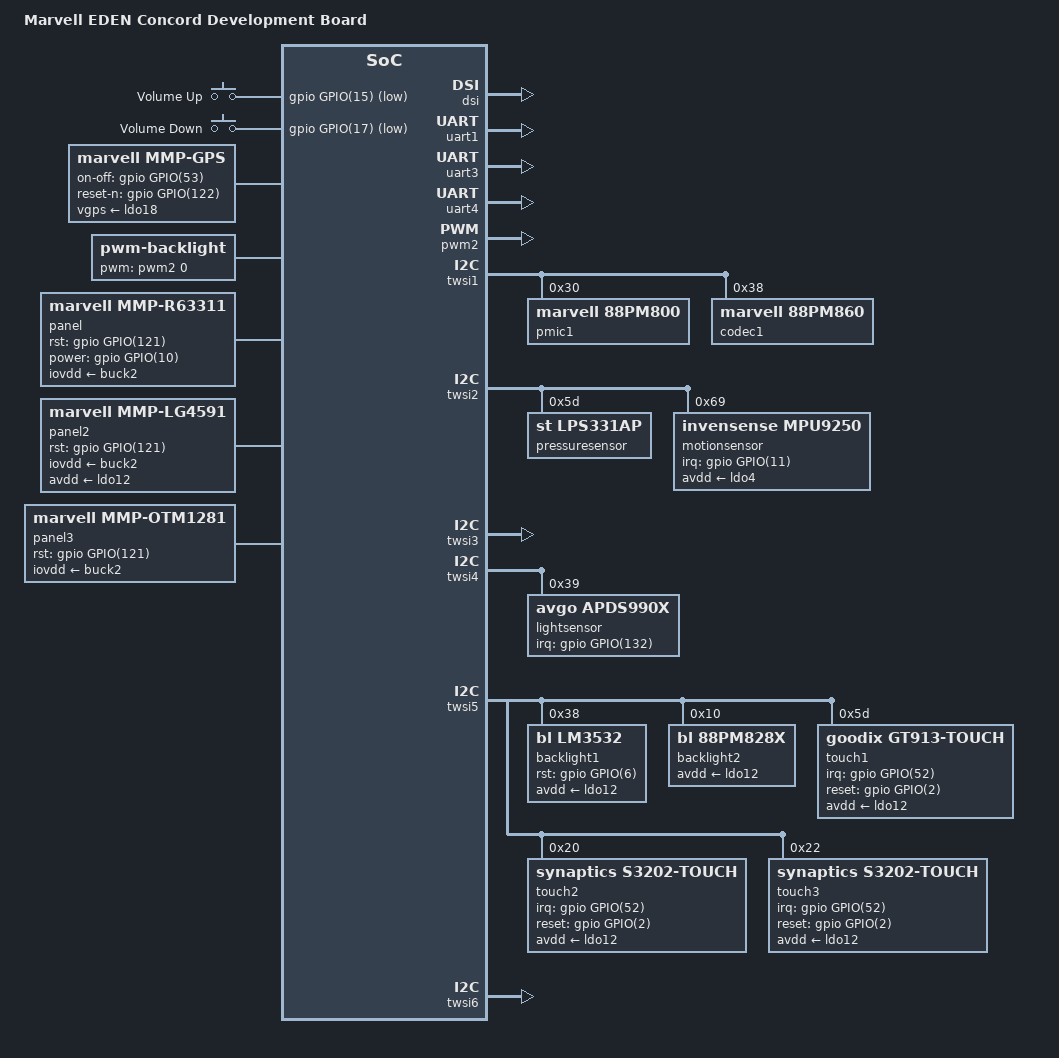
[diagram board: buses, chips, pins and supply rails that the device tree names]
/*
 *  Copyright (C) 2012 Marvell Technology Group Ltd.
 *  Author: Jing Xiang <jing.xiang@marvell.com>
 *
 *  This program is free software; you can redistribute it and/or modify
 *  it under the terms of the GNU General Public License version 2 as
 *  publishhed by the Free Software Foundation.
 */

/dts-v1/;
/memreserve/ 0x09000000 0x04000000;	/* ION */
/memreserve/ 0x17000000 0x017e8000;	/* default fb-mem (size: 1088*1920*4*3) */
#include "eden.dtsi"
#include "regulator.h"

/ {
	model = "Marvell EDEN Concord Development Board";
	compatible = "mrvl,eden-concord", "mrvl,eden";

	interrupt-parent = <&gic>;

	memory {
		device_type = "memory";
		reg = <0 0 0x40000000>;
	};

	gic: interrupt-controller@d1e02000 {
		status = "okay";
	};

	gpio_keys {
			compatible = "gpio-keys";
			#address-cells = <1>;
			#size-cells = <0>;

			volume-up {
				label = "Volume Up";
				linux,code = <115>; /* KEY_VOLUMEUP */
				gpios = <&gpio GPIO(15) 1>;
			};
			volume-down {
				label = "Volume Down";
				linux,code = <114>;/* KEY_VOLUMEDOWN */
				gpios = <&gpio GPIO(17) 1>;
			};
	};

	gps: mmp-gps {
		compatible = "marvell,mmp-gps";
		vgps-supply = <&ldo18>;
		on-off-gpio = <&gpio GPIO(53) 0>;
		reset-n-gpio = <&gpio GPIO(122) 0>;
	};

	soc {
		axi@d4200000 {	/* AXI */
			dsi: dsi@d420b800 {
				marvell,phy-name = "mmp_dsi1";
				marvell,plat-path-name = "mmp_pnpath";
				marvell,dsi-lanes = <4>;
				marvell,burst-mode = <2>;
				marvell,hbp-en;
				dsi_avdd-supply = <&buck3>;
				status = "okay";
			};

			vdma: vdma@d427f000 {
				marvell,vdma-num = <4>;
				status = "okay";
				vdma1 {
					marvell,vdma-id = <0>;
					marvell,sram-size = <17408>;
					marvell,is_vid = <0>;
				};
				vdma2 {
					marvell,vdma-id = <1>;
					marvell,sram-size = <17408>;
					marvell,is_vid = <0>;
				};
				vdma3 {
					marvell,vdma-id = <2>;
					marvell,sram-size = <17408>;
					marvell,is_vid = <1>;
				};
				vdma4 {
					marvell,vdma-id = <3>;
					marvell,sram-size = <17408>;
					marvell,is_vid = <1>;
				};
			};

			apical: apical@d420b400 {
				marvell,apical-num = <1>;
				status = "okay";
			};

			disp: disp@d420b000 {
				marvell,disp-name = "mmp_disp";
				marvell,path-num = <1>;
				status = "okay";
				path1 {
					marvell,path-name = "mmp_pnpath";
					marvell,overlay-num = <2>;
					marvell,overlay-table = <0>, <1>;
					marvell,output-type = <1>;
					marvell,path-config = <0x10>;
					marvell,link-config = <1>;
					pn_sclk_clksrc {
						clksrc = "disp1";
					};
					disp1_clksrc {
						clksrc = "pll1_416";
					};
					disp_apmu_ver {
						version = "ax";
					};
				};
			};

			fb: fb {
				marvell,fb-name = "mmp_fb";
				marvell,path-name = "mmp_pnpath";
				marvell,overlay-id = <1>;
				marvell,default-pixfmt = <0x108>;
				marvell,buffer-num = <3>;
				marvell,fb-mem = <0x17000000>;
				status = "okay";
			};

			fb1: fb-overlay {
				marvell,fb-name = "mmp_fb_overlay";
				marvell,path-name = "mmp_pnpath";
				marvell,overlay-id = <0>;
				status = "okay";
			};

			adma0: adma@c0ffd800 {
				status = "okay";
			};
			adma1: adma@c0ffd900 {
				status = "okay";
			};
		};

		apb@d4000000 {
			/* PDMA Controller 0 */
			pdma0: pdma@d4000000 {
				status = "okay";
			};

			/* PDMA Controller 1 */
			pdma1: pdma@d4008000 {
				status = "okay";
			};

			/* UART for GPS */
			uart1: uart@d4030000 {
				pinctrl-names = "default"; pinctrl-0 = <&uart1_pins>;
				status = "okay";
			};

			/* UART for AP */
			uart3: uart@d4018000 {
				pinctrl-names = "default"; pinctrl-0 = <&uart3_pins>;
				status = "okay";
			};

			/* UART for WIFI and SPI NOR */
			uart4: uart@d4016000 {
				pinctrl-names = "default"; pinctrl-0 = <&uart4_pins>;
				status = "okay";
			};

			pwm2: pwm@d401a400 {
				pinctrl-names = "default"; pinctrl-0 = <&pwm2_pins>;
				status = "okay";
			};

			gpio: gpio@d4019000 {
				status = "okay";
			};

			twsi1: i2c@d4011000 {
				pinctrl-names = "default", "idle";
				pinctrl-0 = <&twsi1_pins>;
				pinctrl-1 = <&twsi1_cp_pins>;
				mrvl,i2c-apdcp;
				status = "okay";
				pmic1: 88pm860@30 {
					compatible = "marvell,88pm800";
					reg = <0x30>;
					interrupts = <0 77 0x4>;
					interrupt-parent = <&gic>;
					interrupt-controller;
					#interrupt-cells = <1>;
					marvell,88pm800-power-page-addr = <0x31>;
					marvell,88pm800-gpadc-page-addr = <0x32>;

					regulators {
						compatible = "marvell,88pm80x-regulator";

						buck1a: BUCK1A {PM800_BUCK1A;regulator-boot-on;regulator-always-on;};
						buck2: BUCK2 {PM800_BUCK2;};
						buck3: BUCK3 {PM800_BUCK3;regulator-boot-on;regulator-always-on;};
						buck4: BUCK4 {PM800_BUCK4;};
						buck5: BUCK5 {PM800_BUCK5;regulator-boot-on;regulator-always-on;};
						buck6: BUCK6 {PM800_BUCK6;};
						buck1b: BUCK1B {PM800_BUCK1B;regulator-boot-on;regulator-always-on;};
						ldo1: LDO1 {PM800_LDO1;regulator-boot-on;regulator-always-on;};
						ldo2: LDO2 {PM800_LDO2;regulator-boot-on;regulator-always-on;};
						ldo3: LDO3 {PM800_LDO3;};
						ldo4: LDO4 {PM800_LDO4;};
						ldo5: LDO5 {PM800_LDO5;};
						ldo6: LDO6 {PM800_LDO6;};
						ldo7: LDO7 {PM800_LDO7;};
						ldo8: LDO8 {PM800_LDO8;regulator-boot-on;regulator-always-on;};
						ldo9: LDO9 {PM800_LDO9;};
						ldo10: LDO10 {PM800_LDO10;};
						ldo11: LDO11 {PM800_LDO11;regulator-boot-on;regulator-always-on;};
						ldo12: LDO12 {PM800_LDO12;regulator-boot-on;regulator-always-on;};
						ldo13: LDO13 {PM800_LDO13;};
						ldo14: LDO14 {PM800_LDO14;};
						ldo15: LDO15 {PM800_LDO15;};
						ldo16: LDO16 {PM800_LDO16;regulator-boot-on;regulator-always-on;};
						ldo17: LDO17 {PM800_LDO17;};
						ldo18: LDO18 {PM800_LDO18;};
						ldo19: LDO19 {PM800_LDO19;regulator-boot-on;};
						ldo20: LDO20 {PM800_LDO20;};
					};
				};
				codec1: 88pm860@38 {
					compatible = "marvell,88pm860";
					reg = <0x38>;
				};
			};

			twsi2: i2c@d4031000 {
				pinctrl-names = "default"; pinctrl-0 = <&twsi2_pins>;
				status = "okay";

				pressuresensor: lps331ap@5d {
					compatible = "st,lps331ap";
					reg = <0x5d>;
					lps331ap,poll_interval = <1000>;
				};

				motionsensor: mpu9250@69 {
					pinctrl-names = "default"; pinctrl-0 = <&motion_sensor_pins>;
					compatible = "invensense,mpu9250";
					reg = <0x69>;
					interrupt-parent = <&gpio>;
					interrupts = <GPIO(11) 0x2>;
					invensense,irq-gpios = <&gpio GPIO(11) 0x00>;
					avdd-supply = <&ldo4>;
				};
			};

			twsi3: i2c@d4032000 {
				pinctrl-names = "default"; pinctrl-0 = <&twsi3_pins>;
				status = "okay";
			};

			twsi4: i2c@d4033000 {
				pinctrl-names = "default"; pinctrl-0 = <&twsi4_pins>;
				status = "okay";

				lightsensor: apds990x@39 {
					pinctrl-names = "default"; pinctrl-0 = <&apds990x_pins>;
					compatible = "avgo,apds990x";
					reg = <0x39>;
					interrupt-parent = <&gpio>;
					interrupts = <GPIO(132) 0x1>;
				};
			};

			twsi5: i2c@d4033800 {
				pinctrl-names = "default"; pinctrl-0 = <&twsi5_pins>;
				status = "okay";

				backlight1: lm3532@38 {
					compatible = "bl,lm3532";
					reg = <0x38>;
					flags = <0>;
					ramp_time = <0>;
					ctrl_a_fs_current = <0x1b>;
					ctrl_a_mapping_mode = <0x2>;
					ctrl_a_pwm = <0x86>;
					rst_gpio = <&gpio GPIO(6) 0>;
					avdd-supply = <&ldo12>;
				};

				backlight2: pm828x@10 {
					compatible = "bl,88pm828x";
					reg = <0x10>;
					ramp_mode = <0x2>;
					idac_current = <0xa00>;
					ramp_clk = <0>;
					str_config = <0x1>;
					avdd-supply = <&ldo12>;
				};

				touch1: gt913@5d {
					compatible = "goodix,gt913-touch";
					pinctrl-names = "default"; pinctrl-0 = <&touch_pins>;
					reg = <0x5d>;
					interrupt-parent = <&gpio>;
					interrupts = <GPIO(52) 0x1>;
					irq-gpios = <&gpio GPIO(52) 0>;
					reset-gpios = <&gpio GPIO(2) 0>;
					goodix,max-height = <1280>;
					goodix,max-width = <720>;
					avdd-supply = <&ldo12>;
				};

				touch2: s3202@20 {
					compatible = "synaptics,s3202-touch";
					pinctrl-names = "default"; pinctrl-0 = <&touch_pins>;
					reg = <0x20>;
					interrupt-parent = <&gpio>;
					interrupts = <GPIO(52) 0x1>;
					/* IRQF_ONESHOT | IRQF_TRIGGER_FALLING */
					synaptics,irq-flags =  <0x2002>;
					synaptics,irq-gpios = <&gpio GPIO(52) 0>;
					synaptics,reset-gpios = <&gpio GPIO(2) 0>;
					synaptics,sensor_res_x = <720>;
					synaptics,sensor_res_y = <1280>;
					synaptics,sensor_max_x = <798>;
					synaptics,sensor_max_y = <1392>;
					synaptics,sensor_margin_x = <39>;
					synaptics,sensor_margin_y = <0>;
					avdd-supply = <&ldo12>;
				};

				touch3: s3202@22 {
					compatible = "synaptics,s3202-touch";
					pinctrl-names = "default"; pinctrl-0 = <&touch_pins>;
					reg = <0x22>;
					interrupt-parent = <&gpio>;
					interrupts = <GPIO(52) 0x1>;
					/* IRQF_ONESHOT | IRQF_TRIGGER_FALLING */
					synaptics,irq-flags =  <0x2002>;
					synaptics,irq-gpios = <&gpio GPIO(52) 0>;
					synaptics,reset-gpios = <&gpio GPIO(2) 0>;
					synaptics,sensor_res_x = <1080>;
					synaptics,sensor_res_y = <1920>;
					synaptics,sensor_max_x = <1080>;
					synaptics,sensor_max_y = <2070>;
					synaptics,sensor_margin_x = <0>;
					synaptics,sensor_margin_y = <0>;
					avdd-supply = <&ldo12>;
				};
			};

			twsi6: i2c@d4034000 {
				pinctrl-names = "default"; pinctrl-0 = <&twsi6_pins>;
				status = "okay";
			};

			thermal: thermal@d403b000 {
				status = "okay";
			};

			rtc: rtc@d4010000 {
				status = "okay";
			};

			/* SSPA port 0 */
			sspa0: sspa@c0ffdc00 {
				playback_period_bytes = <4096>;
				playback_buffer_bytes = <12288>;
				capture_period_bytes = <4096>;
				capture_buffer_bytes = <12288>;
				status = "okay";
			};

			/* SSPA port 1 */
			sspa1: sspa@c0ffdd00 {
				playback_period_bytes = <4096>;
				playback_buffer_bytes = <12288>;
				capture_period_bytes = <4096>;
				capture_buffer_bytes = <12288>;
				status = "okay";
			};

			map: map@c3000000 {
				status = "okay";
			};

			pmx: pinmux@d401e000 {
				status = "okay";
				/* pin base, nr pins & gpio function */
				pinctrl-single,gpio-range = <EDEN_GPIO_PINMUX>;

				uart1_pins: pinmux_uart1_pins {
					pinctrl-single,pins = <P00_UART1_RXD  P01_UART1_TXD>;
					MFP_DEFAULT;
				};

				uart3_pins: pinmux_uart3_pins {
					pinctrl-single,pins = <P33_UART3_RXD P34_UART3_TXD>;
					MFP_DEFAULT;
				};

				uart4_pins: pinmux_uart4_pins {
					pinctrl-single,pins = <P48_UART4_RXD P47_UART4_TXD
								P50_UART4_RTS P49_UART4_CTS>;
					MFP_DEFAULT;
				};

				pwm2_pins: pinmux_pwm2_pins {
					pinctrl-single,pins = <P51_PWM2>;
					MFP_DEFAULT;
				};

				twsi1_pins: pinmux_twsi1_pins {
					pinctrl-single,pins = <P67_PWR_SCL P68_PWR_SDA>;
					MFP_DEFAULT;
				};

				twsi1_cp_pins: pinmux_twsi1_cp_pins {
					pinctrl-single,pins = <P67_PWR_CP_SCL P68_PWR_CP_SDA>;
					MFP_DEFAULT;
				};

				twsi2_pins: pinmux_twsi2_pins {
					pinctrl-single,pins = <P43_TWSI2_SCL P44_TWSI2_SDA>;
					MFP_DEFAULT;
				};

				twsi3_pins: pinmux_twsi3_pins {
					pinctrl-single,pins = <P18_TWSI3_SCL P19_TWSI3_SDA>;
					MFP_DEFAULT;
				};

				twsi4_pins: pinmux_twsi4_pins {
					pinctrl-single,pins = <P46_TWSI4_SCL P45_TWSI4_SDA>;
					MFP_DEFAULT;
				};

				twsi5_pins: pinmux_twsi5_pins {
					pinctrl-single,pins = <P29_TWSI5_SCL P30_TWSI5_SDA>;
					MFP_DEFAULT;
				};

				twsi6_pins: pinmux_twsi6_pins {
					pinctrl-single,pins = <P35_TWSI6_SCL P36_TWSI6_SDA>;
					MFP_DEFAULT;
				};

				touch_pins: pinmux_touch_pins {
					pinctrl-single,pins = <P52_GPIO P02_GPIO>;
					MFP_DEFAULT;
				};

				apds990x_pins: pinmux_apds990x_pins {
					pinctrl-single,pins = <P132_GPIO>;
					MFP_DEFAULT;
				};

				motion_sensor_pins: pinmux_motion_sensor_pins {
					pinctrl-single,pins = <P11_GPIO>;
					MFP_PULL_LOW;
				};
			};
		};
	};

	sound {
		compatible = "marvell,mmp-map-snd-card";
		sspa-controllers = <&sspa0 &sspa1>;
	};

	ion {
		marvell,ion-nr = <2>;
		status = "okay";
		heap1 {
			marvell,ion-name = "carveout_heap";
			marvell,ion-type = <2>;
			marvell,ion-id = <2>;
			marvell,ion-base = <0x09000000>;
			marvell,ion-size = <0x04000000>;
		};
		heap2 {
			marvell,ion-name = "system_heap";
			marvell,ion-type = <0>;
			marvell,ion-id = <0>;
		};
	};

	backlight {
		compatible = "pwm-backlight";
		pwms = <&pwm2 0 100000>;

		brightness-levels = <0 4 8 16 32 64 128 255>;
		default-brightness-level = <6>;
	};

	panel: r63311 {
		compatible = "marvell,mmp-r63311";
		marvell,path-name = "mmp_pnpath";
		rst_gpio = <&gpio GPIO(121) 0>;
		power_gpio = <&gpio GPIO(10) 0>;
		iovdd-supply = <&buck2>;
		status = "okay";
	};

	panel2: lg4591 {
		compatible = "marvell,mmp-lg4591";
		marvell,path-name = "mmp_pnpath";
		rst_gpio = <&gpio GPIO(121) 0>;
		iovdd-supply = <&buck2>;
		avdd-supply = <&ldo12>;
		status = "okay";
	};

	panel3: otm1281 {
		compatible = "marvell,mmp-otm1281";
		marvell,path-name = "mmp_pnpath";
		rst_gpio = <&gpio GPIO(121) 0>;
		iovdd-supply = <&buck2>;
		status = "okay";
	};
};
